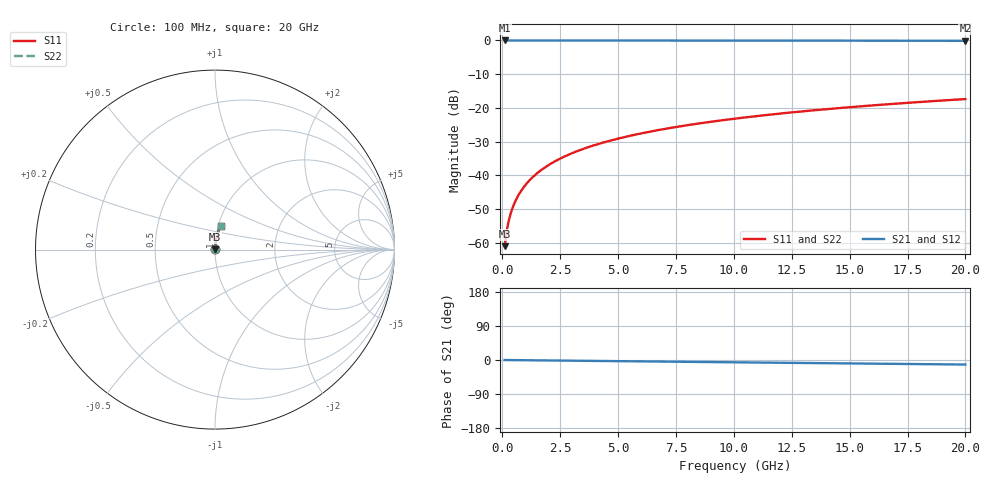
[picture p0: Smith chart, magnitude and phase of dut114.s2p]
! Touchstone file exported from HFSS 2026.1.0
!  File:  C:/ffzhzh/LocalFiles/Ansys_Project_Files/temp_train_BSMRDL_114_1782985928_42984.aedt
!  Generated:  05:53:21 PM Jul  2, 2026
!  Design:  BSMRDL
!  Project:  temp_train_BSMRDL_114_1782985928_42984
! Variables:
!  h_bsmrdl = 5.99um
!  h_ox = 20um
!  h_rdl = 5um
!  h_sub = 80um
!  h_tmrdl = 5um
!  h_tsv = 80um
!  h_via = 3um
!  l_bsmrdl = 124.86um
!  l_sub = 524.86um
!  l_tmrdl = 200um
!  m_sub = 200um
!  pitch = 56.02um
!  r_tsv = 6um
!  s_tmrdl = 10um
!  w_bsmrdl = 20.17um
!  w_sub = 500um
!  w_tmrdl = 12um
!  x_tsv_center1 = 206um
!  x_tsv_center2 = 351.03um
!  x_tsv_center3 = 563.03um
!  x_tsv_center4 = 708.06um
!  x_tsv_center5 = 920.06um
!  x_tsv_center6 = 1065.09um
# GHz S MA R 50.000000
! Terminal data exported
! Port[1] = BSM_RDL1_1_T1
! Port[2] = BSM_RDL1_1_T2
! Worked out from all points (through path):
!   200 points, 100 MHz to 20 GHz, reference 50 ohm
!   highest |S21| = 0.00 dB at 100 MHz (marker M1); lowest = -0.1 dB at 20 GHz (marker M2)
!   group delay of S21, straight-line fit = 1.66 ps
!   lowest |S11| = -60.9 dB at 100 MHz (marker M3), VSWR 1.00, Z = 50 + j0.0754 ohm
!   |S11| at or under -10 dB: start of sweep to end of sweep
!   |S22| runs from -60.9 to -17.4 dB; largest |S21 - S12| = 3.1e-15
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0.1  0.0008979 57.0  0.9995 -0.1  0.9995 -0.1  0.0008979 57.0
! Gamma 0 0 0 0
! Port Impedance 50 0 50 0
0.2  0.001582 71.0  0.9995 -0.1  0.9995 -0.1  0.001582 71.0
0.3  0.002294 76.2  0.9995 -0.2  0.9995 -0.2  0.002294 76.2
0.4  0.003005 78.9  0.9994 -0.3  0.9994 -0.3  0.003005 78.9
0.5  0.003714 80.5  0.9994 -0.3  0.9994 -0.3  0.003714 80.5
0.7  0.005126 82.5  0.9993 -0.4  0.9993 -0.4  0.005126 82.5
0.8  0.005831 83.1  0.9993 -0.5  0.9993 -0.5  0.005831 83.1
1  0.007241 84.0  0.9993 -0.6  0.9993 -0.6  0.007241 84.0
1.2  0.008653 84.6  0.9992 -0.7  0.9992 -0.7  0.008653 84.6
1.4  0.01006 84.9  0.9992 -0.9  0.9992 -0.9  0.01006 84.9
1.7  0.01218 85.3  0.9991 -1.1  0.9991 -1.1  0.01218 85.3
2  0.0143 85.4  0.9991 -1.2  0.9991 -1.2  0.0143 85.4
2.7  0.01921 85.5  0.9989 -1.7  0.9989 -1.7  0.01921 85.5
3.5  0.02479 85.3  0.9986 -2.2  0.9986 -2.2  0.02479 85.3
4.2  0.02964 85.1  0.9983 -2.6  0.9983 -2.6  0.02964 85.1
5  0.03516 84.7  0.998 -3.1  0.998 -3.1  0.03516 84.7
6.8  0.04747 83.9  0.9972 -4.1  0.9972 -4.1  0.04747 83.9
8.3  0.05766 83.1  0.9965 -5.0  0.9965 -5.0  0.05766 83.1
10.1  0.06983 82.2  0.9955 -6.1  0.9955 -6.1  0.06983 82.2
13.4  0.09198 80.5  0.9935 -8.1  0.9935 -8.1  0.09198 80.5
16.7  0.1139 78.6  0.9909 -10.1  0.9909 -10.1  0.1139 78.6
20  0.1355 76.8  0.9879 -12.0  0.9879 -12.0  0.1355 76.8
